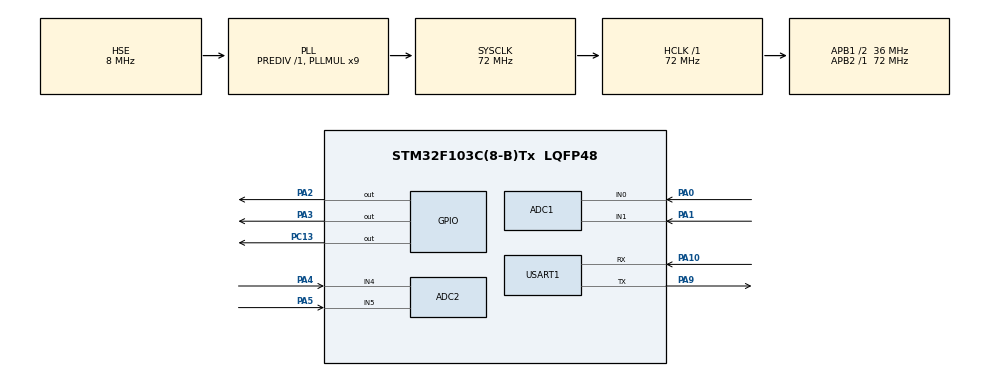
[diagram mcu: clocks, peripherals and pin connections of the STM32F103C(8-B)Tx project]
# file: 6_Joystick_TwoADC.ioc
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ADC1.Channel-0\#ChannelRegularConversion=ADC_CHANNEL_0
ADC1.Channel-1\#ChannelRegularConversion=ADC_CHANNEL_1
ADC1.ContinuousConvMode=ENABLE
ADC1.NbrOfConversion=2
ADC1.NbrOfConversionFlag=1
ADC1.Rank-0\#ChannelRegularConversion=1
ADC1.Rank-1\#ChannelRegularConversion=2
ADC1.SamplingTime-0\#ChannelRegularConversion=ADC_SAMPLETIME_55CYCLES_5
ADC1.SamplingTime-1\#ChannelRegularConversion=ADC_SAMPLETIME_55CYCLES_5
ADC1.master=1
ADC2.Channel-2\#ChannelRegularConversion=ADC_CHANNEL_4
ADC2.Channel-3\#ChannelRegularConversion=ADC_CHANNEL_5
ADC2.ContinuousConvMode=ENABLE
ADC2.NbrOfConversion=2
ADC2.NbrOfConversionFlag=1
ADC2.Rank-2\#ChannelRegularConversion=1
ADC2.Rank-3\#ChannelRegularConversion=2
ADC2.SamplingTime-2\#ChannelRegularConversion=ADC_SAMPLETIME_55CYCLES_5
ADC2.SamplingTime-3\#ChannelRegularConversion=ADC_SAMPLETIME_55CYCLES_5
Mcu.Family=STM32F1
Mcu.Name=STM32F103C(8-B)Tx
Mcu.Package=LQFP48
NVIC.ADC1_2_IRQn=true\:0\:0\:false\:false\:true\:true\:true\:true
NVIC.PriorityGroup=NVIC_PRIORITYGROUP_4
PA0-WKUP.Signal=ADCx_IN0
PA1.Signal=ADCx_IN1
PA10.Mode=Asynchronous
PA10.Signal=USART1_RX
PA13.Mode=Serial_Wire
PA13.Signal=SYS_JTMS-SWDIO
PA14.Mode=Serial_Wire
PA14.Signal=SYS_JTCK-SWCLK
PA2.PinState=GPIO_PIN_SET
PA2.Signal=GPIO_Output
PA3.PinState=GPIO_PIN_SET
PA3.Signal=GPIO_Output
PA4.Signal=ADCx_IN4
PA5.Signal=ADCx_IN5
PA9.Mode=Asynchronous
PA9.Signal=USART1_TX
PC13-TAMPER-RTC.PinState=GPIO_PIN_SET
PC13-TAMPER-RTC.Signal=GPIO_Output
PD0-OSC_IN.Mode=HSE-External-Oscillator
PD0-OSC_IN.Signal=RCC_OSC_IN
PD1-OSC_OUT.Mode=HSE-External-Oscillator
PD1-OSC_OUT.Signal=RCC_OSC_OUT
ProjectManager.HeapSize=0x200
ProjectManager.StackSize=0x400
ProjectManager.TargetToolchain=MDK-ARM V5.32
RCC.ADCPresc=RCC_ADCPCLK2_DIV6
RCC.AHBFreq_Value=72000000
RCC.APB1CLKDivider=RCC_HCLK_DIV2
RCC.APB1Freq_Value=36000000
RCC.APB1TimFreq_Value=72000000
RCC.APB2Freq_Value=72000000
RCC.APB2TimFreq_Value=72000000
RCC.EnbaleCSS=true
RCC.HCLKFreq_Value=72000000
RCC.PLLMUL=RCC_PLL_MUL9
RCC.PLLSourceVirtual=RCC_PLLSOURCE_HSE
RCC.SYSCLKFreq_VALUE=72000000
RCC.SYSCLKSource=RCC_SYSCLKSOURCE_PLLCLK
RCC.USBFreq_Value=72000000
SH.ADCx_IN0.0=ADC1_IN0,IN0
SH.ADCx_IN1.0=ADC1_IN1,IN1
SH.ADCx_IN4.0=ADC2_IN4,IN4
SH.ADCx_IN5.0=ADC2_IN5,IN5
USART1.VirtualMode=VM_ASYNC
board=custom

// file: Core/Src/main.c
/* USER CODE BEGIN Header */
/**
  ******************************************************************************
  * @file           : main.c
  * @brief          : Main program body
  ******************************************************************************
  * @attention
  *
  * Copyright (c) 2025 STMicroelectronics.
  * All rights reserved.
  *
  * This software is licensed under terms that can be found in the LICENSE file
  * in the root directory of this software component.
  * If no LICENSE file comes with this software, it is provided AS-IS.
  *
  ******************************************************************************
  */
/* USER CODE END Header */
#include "main.h"
#include "adc.h"
#include "usart.h"
#include "gpio.h"

/* USER CODE BEGIN Includes */

#include "stdio.h"
#include "string.h"

/* USER CODE END Includes */

void SystemClock_Config(void);
/* USER CODE BEGIN PFP */

void Lin_adc(void);

/* USER CODE END PFP */

int main(void)
{

  /* MCU Configuration--------------------------------------------------------*/

  /* Reset of all peripherals, Initializes the Flash interface and the Systick. */
  HAL_Init();

  /* Configure the system clock */
  SystemClock_Config();

  /* Initialize all configured peripherals */
  MX_GPIO_Init();
  MX_ADC1_Init();
  MX_ADC2_Init();
  MX_USART1_UART_Init();

  /* Infinite loop */
  /* USER CODE BEGIN WHILE */
  while (1)
  {
    Lin_adc();
    HAL_GPIO_TogglePin(GPIOC, GPIO_PIN_13);
    HAL_Delay(50);

    // HAL_GPIO_TogglePin(GPIOC, GPIO_PIN_13);
    // HAL_Delay(50);

    // HAL_GPIO_TogglePin(GPIOC, GPIO_PIN_13);
    // HAL_Delay(50);

    // HAL_GPIO_TogglePin(GPIOC, GPIO_PIN_13);
    // HAL_Delay(50);
    /* USER CODE END WHILE */

  }
}

void SystemClock_Config(void)
{
  RCC_OscInitTypeDef RCC_OscInitStruct = {0};
  RCC_ClkInitTypeDef RCC_ClkInitStruct = {0};
  RCC_PeriphCLKInitTypeDef PeriphClkInit = {0};

  /** Initializes the RCC Oscillators according to the specified parameters
  * in the RCC_OscInitTypeDef structure.
  */
  RCC_OscInitStruct.OscillatorType = RCC_OSCILLATORTYPE_HSE;
  RCC_OscInitStruct.HSEState = RCC_HSE_ON;
  RCC_OscInitStruct.HSEPredivValue = RCC_HSE_PREDIV_DIV1;
  RCC_OscInitStruct.HSIState = RCC_HSI_ON;
  RCC_OscInitStruct.PLL.PLLState = RCC_PLL_ON;
  RCC_OscInitStruct.PLL.PLLSource = RCC_PLLSOURCE_HSE;
  RCC_OscInitStruct.PLL.PLLMUL = RCC_PLL_MUL9;
  if (HAL_RCC_OscConfig(&RCC_OscInitStruct) != HAL_OK)
  {
    Error_Handler();
  }

  /** Initializes the CPU, AHB and APB buses clocks
  */
  RCC_ClkInitStruct.ClockType = RCC_CLOCKTYPE_HCLK|RCC_CLOCKTYPE_SYSCLK
                              |RCC_CLOCKTYPE_PCLK1|RCC_CLOCKTYPE_PCLK2;
  RCC_ClkInitStruct.SYSCLKSource = RCC_SYSCLKSOURCE_PLLCLK;
  RCC_ClkInitStruct.AHBCLKDivider = RCC_SYSCLK_DIV1;
  RCC_ClkInitStruct.APB1CLKDivider = RCC_HCLK_DIV2;
  RCC_ClkInitStruct.APB2CLKDivider = RCC_HCLK_DIV1;

  if (HAL_RCC_ClockConfig(&RCC_ClkInitStruct, FLASH_LATENCY_2) != HAL_OK)
  {
    Error_Handler();
  }
  PeriphClkInit.PeriphClockSelection = RCC_PERIPHCLK_ADC;
  PeriphClkInit.AdcClockSelection = RCC_ADCPCLK2_DIV6;
  if (HAL_RCCEx_PeriphCLKConfig(&PeriphClkInit) != HAL_OK)
  {
    Error_Handler();
  }

  /** Enables the Clock Security System
  */
  HAL_RCC_EnableCSS();
}

/* USER CODE BEGIN 4 */

void Lin_adc(void)
{
    // uint16_t vrx1 = 0, vry1 = 0, vrx2 = 0, vry2 = 0;
    char txbuf[80];  // 临时输出缓冲区

    // ADC1：摇杆1
    HAL_ADC_Start(&hadc1);
    HAL_ADC_PollForConversion(&hadc1, HAL_MAX_DELAY);
    uint16_t vrx1 = HAL_ADC_GetValue(&hadc1); // Rank 1

    HAL_ADC_PollForConversion(&hadc1, HAL_MAX_DELAY);
    uint16_t vry1 = HAL_ADC_GetValue(&hadc1); // Rank 2

    HAL_ADC_Stop(&hadc1);

    // ADC2：摇杆2
    HAL_ADC_Start(&hadc2);
    HAL_ADC_PollForConversion(&hadc2, HAL_MAX_DELAY);
    uint16_t vrx2 = HAL_ADC_GetValue(&hadc2); // Rank 1

    HAL_ADC_PollForConversion(&hadc2, HAL_MAX_DELAY);
    uint16_t vry2 = HAL_ADC_GetValue(&hadc2); // Rank 2

    HAL_ADC_Stop(&hadc2);

    // 读取按键状态
    uint8_t sw1 = HAL_GPIO_ReadPin(GPIOA, GPIO_PIN_2); // 摇杆1按钮
    uint8_t sw2 = HAL_GPIO_ReadPin(GPIOA, GPIO_PIN_3); // 摇杆2按钮
    // 按下时引脚为0，松开为1
    // 反转逻辑
    sw1 = (sw1 == GPIO_PIN_RESET) ? 1 : 0;
    sw2 = (sw2 == GPIO_PIN_RESET) ? 1 : 0;

    // 发送数据
        // sprintf(txbuf,
        //     "{\"x1\":%d,\"y1\":%d,\"SW1\":%d,"
        //     "\"x2\":%d,\"y2\":%d,\"SW2\":%d}\r\n",
        //     vrx1, vry1, sw1, vrx2, vry2, sw2);

            sprintf(txbuf,
            "%d,%d,%d,%d,%d,%d\r\n",vrx1, vry1, sw1, vrx2, vry2, sw2);

    // sprintf(txbuf, "{\"VRx1\":%d,\"VRy1\":%d,\"VRx2\":%d,\"VRy2\":%d}\r\n", vrx1, vry1, vrx2, vry2);
    HAL_UART_Transmit(&huart1, (uint8_t*)txbuf, strlen(txbuf), 10);
}

/* USER CODE END 4 */

void Error_Handler(void)
{
  __disable_irq();
  while (1)
  {
  }
}
